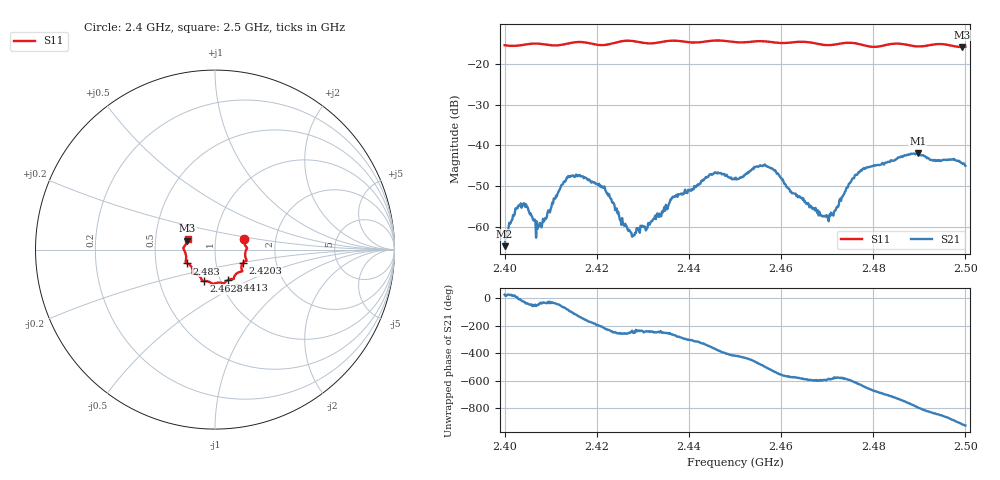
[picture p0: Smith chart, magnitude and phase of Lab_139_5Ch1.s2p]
# Hz S RI R 50
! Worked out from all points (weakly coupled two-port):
!   601 points, 2.4 GHz to 2.5 GHz, reference 50 ohm
!   highest |S21| = -42.02 dB at 2.4897 GHz (marker M1); lowest = -64.8 dB at 2.4 GHz (marker M2)
!   lowest |S11| = -15.8 dB at 2.4993 GHz (marker M3), VSWR 1.39, Z = 36.5 + j3.71 ohm
!   |S11| at or under -10 dB: start of sweep to end of sweep
!   S12 and S22 are empty: the file has one direction only
!   S11 on the Smith chart (normalised r, x): 2.4 GHz: 1.37, +0.16; 2.4203 GHz: 1.35, -0.21; 2.4413 GHz: 1.09, -0.38; 2.4628 GHz: 0.83, -0.30; 2.483 GHz: 0.72, -0.11; 2.5 GHz: 0.73, +0.09
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2.4e9  0.1605 0.0569  0.000524 0.000232  0 0  0 0
2.403e9  0.1668 0.0255  0.0018 -0.000246  0 0  0 0
2.404667e9  0.174 0.0145  0.00142 -0.00123  0 0  0 0
2.407333e9  0.1781 0.00665  0.000648 -0.000793  0 0  0 0
2.413333e9  0.1706 -0.0457  0.000784 -0.00365  0 0  0 0
2.416667e9  0.1762 -0.0613  -0.0033 -0.00254  0 0  0 0
2.420333e9  0.1552 -0.074  -0.0031 0.00095  0 0  0 0
2.427667e9  0.1494 -0.1213  -0.000417 0.000623  0 0  0 0
2.433333e9  0.108 -0.1486  -0.000583 0.0012  0 0  0 0
2.441333e9  0.0744 -0.168  0.00215 0.00215  0 0  0 0
2.445833e9  0.0501 -0.1884  0.00452 -0.000855  0 0  0 0
2.45e9  0.0293 -0.1837  0.00198 -0.00325  0 0  0 0
2.456667e9  -0.0152 -0.1894  -0.00435 -0.00352  0 0  0 0
2.462833e9  -0.0631 -0.1748  -0.00214 0.00139  0 0  0 0
2.466667e9  -0.0741 -0.1675  -0.000974 0.00136  0 0  0 0
2.470833e9  -0.1002 -0.1394  -0.000983 0.00111  0 0  0 0
2.4765e9  -0.1248 -0.1276  -0.00106 0.00419  0 0  0 0
2.483e9  -0.1547 -0.0769  0.00586 0.00188  0 0  0 0
2.483333e9  -0.157 -0.0759  0.00605 0.00163  0 0  0 0
2.489667e9  -0.1613 -0.0326  0.00237 -0.00757  0 0  0 0
2.499333e9  -0.1541 0.0494  -0.00577 0.00149  0 0  0 0
2.5e9  -0.1527 0.0585  -0.00514 0.00218  0 0  0 0
